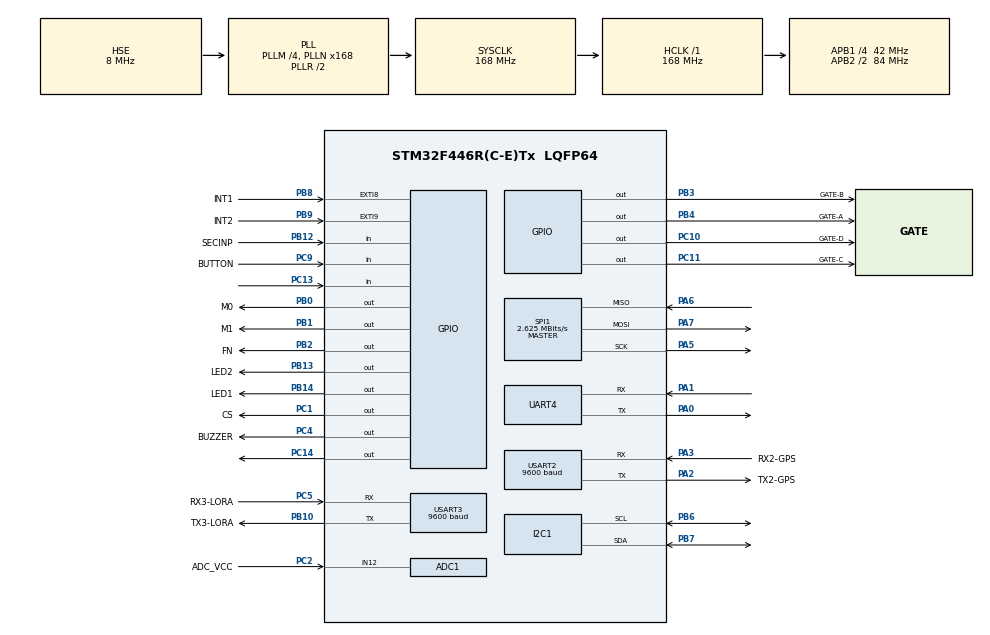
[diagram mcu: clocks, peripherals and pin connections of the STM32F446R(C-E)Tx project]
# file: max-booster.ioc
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ADC1.Channel-11\#ChannelRegularConversion=ADC_CHANNEL_12
ADC1.ContinuousConvMode=ENABLE
ADC1.NbrOfConversionFlag=1
ADC1.Rank-11\#ChannelRegularConversion=1
ADC1.SamplingTime-11\#ChannelRegularConversion=ADC_SAMPLETIME_3CYCLES
ADC1.master=1
I2C1.I2C_Mode=I2C_Fast
Mcu.Family=STM32F4
Mcu.Name=STM32F446R(C-E)Tx
Mcu.Package=LQFP64
NVIC.ADC_IRQn=true\:0\:0\:false\:false\:true\:true\:true\:true
NVIC.PriorityGroup=NVIC_PRIORITYGROUP_4
NVIC.TIM1_TRG_COM_TIM11_IRQn=true\:0\:0\:false\:false\:true\:true\:true\:true
NVIC.TIM1_UP_TIM10_IRQn=true\:0\:0\:false\:false\:true\:true\:true\:true
NVIC.TIM6_DAC_IRQn=true\:0\:0\:false\:false\:true\:true\:true\:true
NVIC.TIM7_IRQn=true\:0\:0\:false\:false\:true\:true\:true\:true
NVIC.USART2_IRQn=true\:0\:0\:false\:false\:true\:true\:true\:true
NVIC.USART3_IRQn=true\:0\:0\:false\:false\:true\:true\:true\:true
PA0-WKUP.Mode=Asynchronous
PA0-WKUP.Signal=UART4_TX
PA1.Mode=Asynchronous
PA1.Signal=UART4_RX
PA13.Mode=Serial_Wire
PA13.Signal=SYS_JTMS-SWDIO
PA14.Mode=Serial_Wire
PA14.Signal=SYS_JTCK-SWCLK
PA2.GPIO_Label=TX2-GPS
PA2.Mode=Asynchronous
PA2.Signal=USART2_TX
PA3.GPIO_Label=RX2-GPS
PA3.Mode=Asynchronous
PA3.Signal=USART2_RX
PA5.Mode=Full_Duplex_Master
PA5.Signal=SPI1_SCK
PA6.Mode=Full_Duplex_Master
PA6.Signal=SPI1_MISO
PA7.Mode=Full_Duplex_Master
PA7.Signal=SPI1_MOSI
PB0.GPIO_Label=M0
PB0.Signal=GPIO_Output
PB1.GPIO_Label=M1
PB1.Signal=GPIO_Output
PB10.GPIO_Label=TX3-LORA
PB10.Mode=Asynchronous
PB10.Signal=USART3_TX
PB12.GPIO_Label=SECINP
PB12.GPIO_PuPd=GPIO_PULLUP
PB12.Signal=GPIO_Input
PB13.GPIO_Label=LED2
PB13.Signal=GPIO_Output
PB14.GPIO_Label=LED1
PB14.Signal=GPIO_Output
PB2.GPIO_Label=FN
PB2.PinState=GPIO_PIN_SET
PB2.Signal=GPIO_Output
PB3.GPIO_Label=GATE-B
PB3.Signal=GPIO_Output
PB4.GPIO_Label=GATE-A
PB4.Signal=GPIO_Output
PB6.Mode=I2C
PB6.Signal=I2C1_SCL
PB7.Mode=I2C
PB7.Signal=I2C1_SDA
PB8.GPIO_Label=INT1
PB8.GPIO_ModeDefaultEXTI=GPIO_MODE_IT_RISING
PB8.Signal=GPXTI8
PB9.GPIO_Label=INT2
PB9.GPIO_PuPd=GPIO_NOPULL
PB9.Signal=GPXTI9
PC1.GPIO_Label=CS
PC1.Signal=GPIO_Output
PC10.GPIO_Label=GATE-D
PC10.Signal=GPIO_Output
PC11.GPIO_Label=GATE-C
PC11.Signal=GPIO_Output
PC13.GPIO_PuPd=GPIO_PULLDOWN
PC13.Signal=GPIO_Input
PC14-OSC32_IN.Signal=GPIO_Output
PC2.GPIO_Label=ADC_VCC
PC2.Signal=ADCx_IN12
PC4.GPIO_Label=BUZZER
PC4.Signal=GPIO_Output
PC5.GPIO_Label=RX3-LORA
PC5.Mode=Asynchronous
PC5.Signal=USART3_RX
PC9.GPIO_Label=BUTTON
PC9.GPIO_PuPd=GPIO_PULLUP
PC9.Signal=GPIO_Input
PH0-OSC_IN.Mode=HSE-External-Oscillator
PH0-OSC_IN.Signal=RCC_OSC_IN
PH1-OSC_OUT.Mode=HSE-External-Oscillator
PH1-OSC_OUT.Signal=RCC_OSC_OUT
ProjectManager.HeapSize=0x200
ProjectManager.StackSize=0x400
ProjectManager.TargetToolchain=STM32CubeIDE
RCC.AHBFreq_Value=168000000
RCC.APB1CLKDivider=RCC_HCLK_DIV4
RCC.APB1Freq_Value=42000000
RCC.APB1TimFreq_Value=84000000
RCC.APB2CLKDivider=RCC_HCLK_DIV2
RCC.APB2Freq_Value=84000000
RCC.APB2TimFreq_Value=168000000
RCC.CortexFreq_Value=168000000
RCC.HCLKFreq_Value=168000000
RCC.HSE_VALUE=8000000
RCC.PLLM=4
RCC.PLLN=168
RCC.PLLQ=7
RCC.PLLSourceVirtual=RCC_PLLSOURCE_HSE
RCC.SYSCLKFreq_VALUE=168000000
RCC.SYSCLKSource=RCC_SYSCLKSOURCE_PLLRCLK
RCC.USBFreq_Value=48000000
RCC.VCOOutputFreq_Value=336000000
SH.ADCx_IN12.0=ADC1_IN12,IN12
SPI1.BaudRatePrescaler=SPI_BAUDRATEPRESCALER_32
SPI1.CalculateBaudRate=2.625 MBits/s
SPI1.Direction=SPI_DIRECTION_2LINES
SPI1.Mode=SPI_MODE_MASTER
SPI1.VirtualType=VM_MASTER
TIM10.Period=4999
TIM10.Prescaler=1680
TIM11.Period=19999
TIM11.Prescaler=16800-1
TIM6.Period=34999
TIM6.Prescaler=8400
TIM7.Period=65000-1
TIM7.Prescaler=8400-1
UART4.VirtualMode=Asynchronous
USART2.BaudRate=9600
USART2.VirtualMode=VM_ASYNC
USART3.BaudRate=9600
USART3.VirtualMode=VM_ASYNC
VP_FATFS_VS_Generic.Mode=User_defined
VP_TIM10_VS_ClockSourceINT.Mode=Enable_Timer
VP_TIM11_VS_ClockSourceINT.Mode=Enable_Timer
VP_TIM6_VS_ClockSourceINT.Mode=Enable_Timer
VP_TIM7_VS_ClockSourceINT.Mode=Enable_Timer
board=custom

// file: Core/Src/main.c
/* USER CODE BEGIN Header */
/**
  ******************************************************************************
  * @file           : main.c
  * @brief          : Main program body
  ******************************************************************************
  * @attention
  *
  * Copyright (c) 2024 STMicroelectronics.
  * All rights reserved.
  *
  * This software is licensed under terms that can be found in the LICENSE file
  * in the root directory of this software component.
  * If no LICENSE file comes with this software, it is provided AS-IS.
  *
  ******************************************************************************
  */
/* USER CODE END Header */
#include "main.h"
#include "fatfs.h"

/* USER CODE BEGIN Includes */
#include "lwgps/lwgps.h"
#include "LSM6DSLTR.h"
#include "./BME280/bme280.h"
#include "w25q.h"
#include <math.h>
#include "FIR_FILTER.h"
#include "string.h"
#include "kalman.h"
/* USER CODE END Includes */

/* USER CODE BEGIN PD */
#define LORA_TX_BUFFER_SIZE 75
#define RX_BUFFER_SIZE 128
#define DEVICE_ID 1

#define CMD_SET_REG 0xC0 // COMMAND FOR SETTING REGISTER
#define CMD_READ_REG 0xC1 // COMMAND FOR READING REGISTER
#define REG_ADD_H 0x0 // DEVICE ADDRESS HIGH BYTE
#define REG_ADD_L 0x1 // DEVICE ADDRESS LOW BYTE
#define REG0 0x2 // UART CONFIGURATION REGISTER
#define REG1 0x3 // RF CONFIGURATION REGISTER
#define REG2 0x4 // CHANNEL CONTROL
#define REG3 0x5 // TRANSMISSION PARAMETER CONTROL

/* USER CODE END PD */

ADC_HandleTypeDef hadc1;

I2C_HandleTypeDef hi2c1;

SPI_HandleTypeDef hspi1;

TIM_HandleTypeDef htim6;
TIM_HandleTypeDef htim7;
TIM_HandleTypeDef htim10;
TIM_HandleTypeDef htim11;

UART_HandleTypeDef huart4;
UART_HandleTypeDef huart2;
UART_HandleTypeDef huart3;

/* USER CODE BEGIN PV */

uint8_t rx_buffer[RX_BUFFER_SIZE];
uint8_t rx_index=0;
uint8_t rx_data=0;

float adc_pil_val=0;
float adc =0;
uint8_t counter=0;
uint8_t adc_flag=0;

int buzzer_long=0 , buzzer_short=0, buzzer_ariza=0 ;
int buzzer_short_counter , buzzer_long_counter , buzzer_ariza_counter;
int new_data=0,kontrol_number=0 ,  speed_time, speed_time_prev ;

uint8_t v4_battery=0;
uint8_t v4_mod=0;
uint8_t stage_communication=0;
uint8_t motor_burnout=0;
uint8_t kesin_burnout=0;

uint8_t BUTTON_STATE=0;

uint8_t writeData[50] = {0,1,1,1};
uint8_t readData[50] = {0};

uint8_t loratx[LORA_TX_BUFFER_SIZE];
uint8_t lora_flag=0;
uint8_t sensor_flag=0;
uint8_t buzzer_flag=0;

float temperature=0;
float humidity=0;
float altitude=0;
float offset_altitude=0 ;
float pressure=0;
float alt=0;
float P0 = 1013.25;
float prev_alt=0;
float speed=0;
float altitude_max , speed_max, x_max;

float real_pitch, real_roll , toplam_pitch,toplam_roll;
float altitude_kalman;
uint8_t  sensor_counter =0, altitude_rampa_control=0;
uint16_t stage_sayac =0;
KalmanFilter kf;

typedef union{
  float fVal;
  unsigned char array[4];
}float2unit8;

enum ZORLU2024
{
	RAMPA,UCUS,BURNOUT,AYIR,AYRILDI_MI,AYRILDI,AYRILMADI,FINISH
};
enum ZORLU2024 BOOSTER;
/* USER CODE END PV */

void SystemClock_Config(void);
static void MX_GPIO_Init(void);
static void MX_ADC1_Init(void);
static void MX_I2C1_Init(void);
static void MX_SPI1_Init(void);
static void MX_UART4_Init(void);
static void MX_USART2_UART_Init(void);
static void MX_USART3_UART_Init(void);
static void MX_TIM11_Init(void);
static void MX_TIM10_Init(void);
static void MX_TIM6_Init(void);
static void MX_TIM7_Init(void);
/* USER CODE BEGIN PFP */
int16_t I2C_Testsensor(void);
int8_t user_i2c_read(uint8_t id, uint8_t reg_addr, uint8_t *data, uint16_t len);
int8_t user_i2c_write(uint8_t id, uint8_t reg_addr, uint8_t *data, uint16_t len);
void user_delay_ms(uint32_t period);
float BME280_Get_Altitude(void);
void E220_CONFIG(uint8_t ADDH, uint8_t ADDL, uint8_t CHN, uint8_t MODE);
void union_converter();
void Altitude_Offset();
/* USER CODE END PFP */

/* USER CODE BEGIN 0 */
lwgps_t gps;
LSM6DSLTR Lsm_Sensor;
FIRFilter accx;
FIRFilter IMU_GYROX;
FIRFilter IMU_GYROY;
FIRFilter IMU_GYROZ;

struct bme280_dev dev;
struct bme280_data comp_data;
int8_t rslt=0;
int8_t receive_data=0;
int8_t E220_write_register(uint8_t reg,uint8_t parameter)
{

	HAL_GPIO_WritePin(GPIOB, GPIO_PIN_0, SET);
	HAL_GPIO_WritePin(GPIOB, GPIO_PIN_1, SET);

	HAL_Delay(10);

	uint8_t send_data[4]={CMD_SET_REG,reg,1,parameter};
	uint8_t receive_data[4]={0};

	HAL_UART_Transmit(&huart3,send_data ,4, 100);
	HAL_UART_Receive(&huart3, receive_data, 4, 100);

	if(receive_data[0]==CMD_READ_REG && receive_data[1]==reg && receive_data[2]==1 && receive_data[3] == parameter)
		return receive_data[3];
	else
		return -1;

}
int8_t E220_read_register(uint8_t reg)
{

	uint8_t send_data[3]={CMD_READ_REG,reg,1};
	uint8_t receive_data[4]={0};
	HAL_UART_Transmit(&huart3,send_data ,3, 100);

	HAL_UART_Receive(&huart3, receive_data, 4, 100);

	if(receive_data[0]==CMD_READ_REG && receive_data[1]==reg && receive_data[2]==1)
		return receive_data[3];
	else
		return -1;
}
int8_t E220_read_register_all(uint8_t *data)
{

	for(int i=0; i<8;i++){
		data[i]=E220_read_register(i);
		HAL_Delay(2);
		if((int8_t)data[i]==(int8_t)-1)
			return -1;
	}
	return 1;

}

void HAL_UART_RxCpltCallback(UART_HandleTypeDef *huart)
{
	if(rx_data != '\n' && rx_index < RX_BUFFER_SIZE)
	{
		rx_buffer[rx_index++] = rx_data;
	}
	else {
		lwgps_process(&gps, rx_buffer, rx_index+1);
		rx_index = 0;
		rx_data = 0;
	}
	HAL_UART_Receive_IT(&huart2, &rx_data, 1);

}

void HAL_TIM_PeriodElapsedCallback(TIM_HandleTypeDef *htim)
{

	if(htim==&htim11){ // 1.5sn
		lora_flag=1;

		counter++;
		if(counter == 2)
		{
			adc_flag=1;
			counter =0;
			HAL_ADC_Start_IT(&hadc1);
		}

	}

	if(htim==&htim10){ //50 ms timer
		sensor_flag=1;

	}

	if(htim==&htim6){
      motor_burnout++;
	}
	if(htim==&htim7){
      kesin_burnout++;
	}
}

void HAL_ADC_ConvCpltCallback(ADC_HandleTypeDef* hadc)
{
	if(hadc->Instance == ADC1 )
	{
		adc= HAL_ADC_GetValue(&hadc1);

		adc_flag = 1;
	}
}

/* USER CODE END 0 */

int main(void)
{

  /* MCU Configuration--------------------------------------------------------*/

  /* Reset of all peripherals, Initializes the Flash interface and the Systick. */
  HAL_Init();

  /* Configure the system clock */
  SystemClock_Config();

  /* Initialize all configured peripherals */
  MX_GPIO_Init();
  MX_ADC1_Init();
  MX_I2C1_Init();
  MX_SPI1_Init();
  MX_UART4_Init();
  MX_USART2_UART_Init();
  MX_USART3_UART_Init();
  MX_FATFS_Init();
  MX_TIM11_Init();
  MX_TIM10_Init();
  MX_TIM6_Init();
  MX_TIM7_Init();
  /* USER CODE BEGIN 2 */
  HAL_GPIO_WritePin(GPIOB, GPIO_PIN_2, GPIO_PIN_SET);
  HAL_GPIO_WritePin(GPIOC, GPIO_PIN_1, GPIO_PIN_SET);
  HAL_GPIO_WritePin(GPIOC, GPIO_PIN_14, GPIO_PIN_SET);

  ///KURTARMA PORTLARI KAPALI EMIN OL
  HAL_GPIO_WritePin(GPIOB, GPIO_PIN_4, GPIO_PIN_RESET);//A
  HAL_GPIO_WritePin(GPIOB, GPIO_PIN_3, GPIO_PIN_RESET);//B
  HAL_GPIO_WritePin(GPIOC, GPIO_PIN_11, GPIO_PIN_RESET);//C
  HAL_GPIO_WritePin(GPIOC, GPIO_PIN_10, GPIO_PIN_RESET);//D

  HAL_Delay(100);
  receive_data =E220_write_register(0x2, 0x62);
  HAL_Delay(100);
  receive_data =E220_write_register(0x3, 0x40);
  HAL_Delay(100);
  receive_data =E220_write_register(0x4, 0x10); // ch
  HAL_Delay(100);
  receive_data =E220_write_register(0x5, 0x40);
  HAL_Delay(100);
  receive_data =E220_write_register(0x6, 0x00);
  HAL_Delay(100);
  receive_data =E220_write_register(0x7, 0x00);
  HAL_Delay(100);
  receive_data =E220_write_register(0, 0x04); // h 0x04
  HAL_Delay(100);

  receive_data =E220_write_register(0x1, 0x01); // low 0x01
  HAL_Delay(200);

  receive_data = E220_read_register(0);
  HAL_Delay(100);
  receive_data = E220_read_register(1);
  HAL_Delay(100);
  HAL_GPIO_WritePin(GPIOB, GPIO_PIN_0, SET);//m0
  HAL_Delay(100);
  HAL_GPIO_WritePin(GPIOB, GPIO_PIN_1, RESET); //m1
  HAL_Delay(100);

  HAL_UART_Receive_IT(&huart2,&rx_data,1);
  HAL_TIM_Base_Start_IT(&htim11);
  HAL_TIM_Base_Start_IT(&htim10);
  HAL_ADC_Start_IT(&hadc1);

  MAFilter_Init(&accx);
  FIRFilter_Init(&IMU_GYROY);
  FIRFilter_Init(&IMU_GYROX);
  FIRFilter_Init(&IMU_GYROZ);

  lwgps_init(&gps);
  LSM6DSLTR_Init();

   dev.dev_id = BME280_I2C_ADDR_PRIM;
   dev.intf = BME280_I2C_INTF;
   dev.read = user_i2c_read;
   dev.write = user_i2c_write;
   dev.delay_ms = user_delay_ms;

   rslt = bme280_init(&dev);

   dev.settings.osr_h = BME280_OVERSAMPLING_1X;
   dev.settings.osr_p = BME280_OVERSAMPLING_4X;
   dev.settings.osr_t = BME280_OVERSAMPLING_2X;
   dev.settings.filter = BME280_FILTER_COEFF_16;
   rslt = bme280_set_sensor_settings(BME280_OSR_PRESS_SEL | BME280_OSR_TEMP_SEL | BME280_OSR_HUM_SEL | BME280_FILTER_SEL, &dev);

   ////ALTITUDE OFFSET

    Altitude_Offset();
    HAL_GPIO_TogglePin(GPIOC,GPIO_PIN_4);
	HAL_GPIO_TogglePin(GPIOB,GPIO_PIN_14);
	HAL_GPIO_TogglePin(GPIOB,GPIO_PIN_13);
	HAL_Delay(1000);

	HAL_GPIO_TogglePin(GPIOC,GPIO_PIN_4);
	HAL_GPIO_TogglePin(GPIOB,GPIO_PIN_14);
	HAL_GPIO_TogglePin(GPIOB,GPIO_PIN_13);

	HAL_Delay(100);

	// KalmanFilter_Init(&kf, 0.005, 0.1, 0.0);

  /* USER CODE END 2 */

  /* Infinite loop */
  /* USER CODE BEGIN WHILE */
  while (1)
  {

		   if(sensor_flag==1){
					sensor_flag=0;
					prev_alt=altitude;
					rslt = bme280_set_sensor_mode(BME280_FORCED_MODE, &dev);

					rslt = bme280_get_sensor_data(BME280_ALL, &comp_data, &dev);

					 LSM6DSLTR_Read_Accel_Data(&Lsm_Sensor);
					 calculate_roll_pitch(&Lsm_Sensor);
					 LSM6DSLTR_Read_Gyro_Data(&Lsm_Sensor);
					 update_angles(&Lsm_Sensor);

					 Lsm_Sensor.Accel_X=FIRFilter_Update(&accx,  Lsm_Sensor.Accel_X);

					 Lsm_Sensor.Gyro_X=FIRFilter_Update(&IMU_GYROX,  Lsm_Sensor.Gyro_X);
					 Lsm_Sensor.Gyro_Y=FIRFilter_Update(&IMU_GYROY, Lsm_Sensor.Gyro_Y);
					 Lsm_Sensor.Gyro_Z=FIRFilter_Update(&IMU_GYROZ, Lsm_Sensor.Gyro_Z);

					 toplam_pitch+= Lsm_Sensor.Pitch;
					 toplam_roll+= Lsm_Sensor.Roll;

					 sensor_counter++;
					 if(sensor_counter == 10)
					 {
							if(rslt == BME280_OK)
								{
								  temperature = comp_data.temperature/100.00;
								  humidity = comp_data.humidity;
								  pressure = comp_data.pressure;
								  altitude=BME280_Get_Altitude()-offset_altitude;
								//  altitude_kalman= KalmanFilter_Update(&kf, altitude);
								//  speed_time = (HAL_GetTick()-speed_time_prev)/1000.0f;
								  speed = (altitude - prev_alt) * 3.33;
								//  speed_time_prev = speed_time;

								}

						 real_pitch = toplam_pitch/10;
						 real_roll = toplam_roll/10;
						 toplam_roll=0;
						 toplam_pitch=0;
						 sensor_counter =0;
						 new_data=1;
					 }

					 stage_communication=HAL_GPIO_ReadPin(GPIOC, GPIO_PIN_13);
//					 if(stage_communication == 0) { buzzer_long=0; buzzer_short =0;}
//					 else {
//						 buzzer_short=0;
//						 buzzer_long =0;
//					 }
					 BUTTON_STATE=HAL_GPIO_ReadPin(GPIOC, GPIO_PIN_9);
					// FreeFall_Detection();

					 stage_sayac++;
		   }

   if(lora_flag==1)
   {
	   lora_flag=0;

		loratx[0]=0x09; // h 9
		loratx[1]=0x02; //l 2
		loratx[2]=0x10;
		loratx[3]=DEVICE_ID;
		loratx[4]=gps.sats_in_view;

		union_converter();

		loratx[49]=v4_battery;
		loratx[50]=0x32; // v4mod
		loratx[51]=stage_communication;
		 for(uint8_t i=52;i<69;i++)
		 {
			loratx[i]='0';
		 }
		loratx[73]=v4_mod;
		loratx[74]='\n';

    	HAL_UART_Transmit_IT(&huart3,loratx,LORA_TX_BUFFER_SIZE );
		//HAL_UART_Transmit(&huart3,loratx,LORA_TX_BUFFER_SIZE ,1000);

         }

		  switch(BOOSTER){

		  case RAMPA:
						  v4_mod=1;
					  //RAMPA MODU  ÜST KADEME HABERLE�?ME KONTROL ET
					  if(Lsm_Sensor.Accel_X > 5 && new_data==1)
					  {
						  kontrol_number++;
						  new_data=0;
					  }

						if(kontrol_number >5)
						{
						 BOOSTER=UCUS;
						  HAL_TIM_Base_Start_IT(&htim6); //4.5 sn sayıyor
						 HAL_TIM_Base_Start_IT(&htim7); 	  // 6.5 sn başlat

						 kontrol_number=0;
						}

				  break;
		  case UCUS:
						  v4_mod=2;
					  // FLASH MEMORYE KAYDETMEYE BA�?LA VE MOTOR YANMA SÜRESİ KADAR SAY
					  if(motor_burnout==2)
					  {	 HAL_TIM_Base_Stop_IT(&htim6);
						 //HAL_TIM_Base_Stop_IT(&htim7);
						 BOOSTER=BURNOUT;

					  }
				   break;
		  case BURNOUT:
						  v4_mod=3;
					  //İVME VE HIZ DE�?ERLERİNE BAKARAK SAFETY SÜRESİ GEÇMEDEN KADEMEYİ AYIRABİLİR
					  if((Lsm_Sensor.Accel_X<5 && altitude_rampa_control == 1)  || (kesin_burnout>=2) ){
						BOOSTER=AYIR;

					  }
				   break;
		  case AYIR:
						  v4_mod=4;
					  // MOTOR YANMA SÜRESİ+SAFETY SÜRESİ GEÇTİYSE AYIRMA SİNYALİ GÖNDER
						  HAL_GPIO_WritePin(GPIOB, GPIO_PIN_4, SET); // port A ateşle
						  BOOSTER=AYRILDI_MI;
						  stage_sayac=0;

				   break;
		  case AYRILDI_MI:
						  v4_mod=5;
					  //STAGE COMMUNICATION !!!!!
					if(stage_sayac >= 33) // kopmayı bekleme süresi
					{
						  if(stage_communication==0){

							  HAL_GPIO_WritePin(GPIOB, GPIO_PIN_4, RESET); // port a kapat

							  BOOSTER=AYRILDI;
						  }
						  else if(stage_communication==1){
							  BOOSTER=AYRILMADI;

						  }

					}
				   break;

		  case AYRILDI:
						 v4_mod=6;
					  //AYRILMA GERÇEKLESTI BOOSTER APOGEE YAKALA

						 if( speed <= 2 && altitude < altitude_max && altitude >300 && new_data==1)
						{
							 kontrol_number++;
							 new_data=0;
						}
						 if(kontrol_number >10)
						{
						 HAL_GPIO_WritePin(GPIOC, GPIO_PIN_10, SET); // Port D
						 HAL_Delay(50);
						 BOOSTER=FINISH;
						}

				   break;
		  case AYRILMADI:
						  v4_mod=7;
					  //ÇOK SÜRE GEÇTİ VE HALA AYRILMADI İSE BOOSTER PARA�?ÜT AÇMA

						  // Booster son çare kurtarması
					if(altitude <= 500 && speed < -3  && altitude_rampa_control == 1 && new_data==1)
					{
						kontrol_number++;
						 new_data=0;
					}

					 if(kontrol_number >10)
					 {
						 HAL_GPIO_WritePin(GPIOC, GPIO_PIN_10, SET); // Port D
						 HAL_Delay(50);

						 BOOSTER=FINISH;
					 }

				   break;
		  case FINISH:
						  v4_mod=8;
					  //KURTARMA GERÇEKLE�?Tİ VERİ KAYDETMEYİ BIRAK VE BUZZERI AÇ
						  HAL_GPIO_TogglePin(GPIOC,GPIO_PIN_4);
						  HAL_GPIO_WritePin(GPIOB, GPIO_PIN_4, RESET); // Port D

				   break;
		  }

/************************************************************************************/
		  if(altitude >150 && BOOSTER <3)
		  {
			  altitude_rampa_control =1;
		  }
/*************************************************************************************/
		  if(altitude>altitude_max) altitude_max = altitude;

		  if(speed>speed_max) speed_max = speed;

		  if( Lsm_Sensor.Accel_X> x_max) x_max =  Lsm_Sensor.Accel_X;

		  if(adc_flag ==1)
		  {
			  if(adc > 2476) adc = 2234;
			  if(adc < 1755) adc = 1755;
			  // 6V = 1755 adc val 1,41V
			  // 8.4V = 2476 adc val 1,99V 0,58V

		  adc_pil_val=(float)( ( ( (adc/4095)*3.3)-1.41) / (1.99-1.41) ) *100  ;
		  v4_battery= adc_pil_val;
		  adc_flag=0;
			}

    /* USER CODE END WHILE */

  }
}

void SystemClock_Config(void)
{
  RCC_OscInitTypeDef RCC_OscInitStruct = {0};
  RCC_ClkInitTypeDef RCC_ClkInitStruct = {0};

  /** Configure the main internal regulator output voltage
  */
  __HAL_RCC_PWR_CLK_ENABLE();
  __HAL_PWR_VOLTAGESCALING_CONFIG(PWR_REGULATOR_VOLTAGE_SCALE1);

  /** Initializes the RCC Oscillators according to the specified parameters
  * in the RCC_OscInitTypeDef structure.
  */
  RCC_OscInitStruct.OscillatorType = RCC_OSCILLATORTYPE_HSE;
  RCC_OscInitStruct.HSEState = RCC_HSE_ON;
  RCC_OscInitStruct.PLL.PLLState = RCC_PLL_ON;
  RCC_OscInitStruct.PLL.PLLSource = RCC_PLLSOURCE_HSE;
  RCC_OscInitStruct.PLL.PLLM = 4;
  RCC_OscInitStruct.PLL.PLLN = 168;
  RCC_OscInitStruct.PLL.PLLP = RCC_PLLP_DIV2;
  RCC_OscInitStruct.PLL.PLLQ = 7;
  RCC_OscInitStruct.PLL.PLLR = 2;
  if (HAL_RCC_OscConfig(&RCC_OscInitStruct) != HAL_OK)
  {
    Error_Handler();
  }

  /** Initializes the CPU, AHB and APB buses clocks
  */
  RCC_ClkInitStruct.ClockType = RCC_CLOCKTYPE_HCLK|RCC_CLOCKTYPE_SYSCLK
                              |RCC_CLOCKTYPE_PCLK1|RCC_CLOCKTYPE_PCLK2;
  RCC_ClkInitStruct.SYSCLKSource = RCC_SYSCLKSOURCE_PLLRCLK;
  RCC_ClkInitStruct.AHBCLKDivider = RCC_SYSCLK_DIV1;
  RCC_ClkInitStruct.APB1CLKDivider = RCC_HCLK_DIV4;
  RCC_ClkInitStruct.APB2CLKDivider = RCC_HCLK_DIV2;

  if (HAL_RCC_ClockConfig(&RCC_ClkInitStruct, FLASH_LATENCY_5) != HAL_OK)
  {
    Error_Handler();
  }
}

static void MX_ADC1_Init(void)
{

  ADC_ChannelConfTypeDef sConfig = {0};

  /** Configure the global features of the ADC (Clock, Resolution, Data Alignment and number of conversion)
  */
  hadc1.Instance = ADC1;
  hadc1.Init.ClockPrescaler = ADC_CLOCK_SYNC_PCLK_DIV4;
  hadc1.Init.Resolution = ADC_RESOLUTION_12B;
  hadc1.Init.ScanConvMode = DISABLE;
  hadc1.Init.ContinuousConvMode = ENABLE;
  hadc1.Init.DiscontinuousConvMode = DISABLE;
  hadc1.Init.ExternalTrigConvEdge = ADC_EXTERNALTRIGCONVEDGE_NONE;
  hadc1.Init.ExternalTrigConv = ADC_SOFTWARE_START;
  hadc1.Init.DataAlign = ADC_DATAALIGN_RIGHT;
  hadc1.Init.NbrOfConversion = 1;
  hadc1.Init.DMAContinuousRequests = DISABLE;
  hadc1.Init.EOCSelection = ADC_EOC_SINGLE_CONV;
  if (HAL_ADC_Init(&hadc1) != HAL_OK)
  {
    Error_Handler();
  }

  /** Configure for the selected ADC regular channel its corresponding rank in the sequencer and its sample time.
  */
  sConfig.Channel = ADC_CHANNEL_12;
  sConfig.Rank = 1;
  sConfig.SamplingTime = ADC_SAMPLETIME_3CYCLES;
  if (HAL_ADC_ConfigChannel(&hadc1, &sConfig) != HAL_OK)
  {
    Error_Handler();
  }

}

static void MX_I2C1_Init(void)
{

  hi2c1.Instance = I2C1;
  hi2c1.Init.ClockSpeed = 400000;
  hi2c1.Init.DutyCycle = I2C_DUTYCYCLE_2;
  hi2c1.Init.OwnAddress1 = 0;
  hi2c1.Init.AddressingMode = I2C_ADDRESSINGMODE_7BIT;
  hi2c1.Init.DualAddressMode = I2C_DUALADDRESS_DISABLE;
  hi2c1.Init.OwnAddress2 = 0;
  hi2c1.Init.GeneralCallMode = I2C_GENERALCALL_DISABLE;
  hi2c1.Init.NoStretchMode = I2C_NOSTRETCH_DISABLE;
  if (HAL_I2C_Init(&hi2c1) != HAL_OK)
  {
    Error_Handler();
  }

}

static void MX_SPI1_Init(void)
{

  /* SPI1 parameter configuration*/
  hspi1.Instance = SPI1;
  hspi1.Init.Mode = SPI_MODE_MASTER;
  hspi1.Init.Direction = SPI_DIRECTION_2LINES;
  hspi1.Init.DataSize = SPI_DATASIZE_8BIT;
  hspi1.Init.CLKPolarity = SPI_POLARITY_LOW;
  hspi1.Init.CLKPhase = SPI_PHASE_1EDGE;
  hspi1.Init.NSS = SPI_NSS_SOFT;
  hspi1.Init.BaudRatePrescaler = SPI_BAUDRATEPRESCALER_32;
  hspi1.Init.FirstBit = SPI_FIRSTBIT_MSB;
  hspi1.Init.TIMode = SPI_TIMODE_DISABLE;
  hspi1.Init.CRCCalculation = SPI_CRCCALCULATION_DISABLE;
  hspi1.Init.CRCPolynomial = 10;
  if (HAL_SPI_Init(&hspi1) != HAL_OK)
  {
    Error_Handler();
  }

}

static void MX_TIM6_Init(void)
{

  TIM_MasterConfigTypeDef sMasterConfig = {0};

  htim6.Instance = TIM6;
  htim6.Init.Prescaler = 8400;
  htim6.Init.CounterMode = TIM_COUNTERMODE_UP;
  htim6.Init.Period = 34999;
  htim6.Init.AutoReloadPreload = TIM_AUTORELOAD_PRELOAD_DISABLE;
  if (HAL_TIM_Base_Init(&htim6) != HAL_OK)
  {
    Error_Handler();
  }
  sMasterConfig.MasterOutputTrigger = TIM_TRGO_RESET;
  sMasterConfig.MasterSlaveMode = TIM_MASTERSLAVEMODE_DISABLE;
  if (HAL_TIMEx_MasterConfigSynchronization(&htim6, &sMasterConfig) != HAL_OK)
  {
    Error_Handler();
  }

}

static void MX_TIM7_Init(void)
{

  TIM_MasterConfigTypeDef sMasterConfig = {0};

  htim7.Instance = TIM7;
  htim7.Init.Prescaler = 8400-1;
  htim7.Init.CounterMode = TIM_COUNTERMODE_UP;
  htim7.Init.Period = 65000-1;
  htim7.Init.AutoReloadPreload = TIM_AUTORELOAD_PRELOAD_DISABLE;
  if (HAL_TIM_Base_Init(&htim7) != HAL_OK)
  {
    Error_Handler();
  }
  sMasterConfig.MasterOutputTrigger = TIM_TRGO_RESET;
  sMasterConfig.MasterSlaveMode = TIM_MASTERSLAVEMODE_DISABLE;
  if (HAL_TIMEx_MasterConfigSynchronization(&htim7, &sMasterConfig) != HAL_OK)
  {
    Error_Handler();
  }

}

static void MX_TIM10_Init(void)
{

  htim10.Instance = TIM10;
  htim10.Init.Prescaler = 1680;
  htim10.Init.CounterMode = TIM_COUNTERMODE_UP;
  htim10.Init.Period = 4999;
  htim10.Init.ClockDivision = TIM_CLOCKDIVISION_DIV1;
  htim10.Init.AutoReloadPreload = TIM_AUTORELOAD_PRELOAD_DISABLE;
  if (HAL_TIM_Base_Init(&htim10) != HAL_OK)
  {
    Error_Handler();
  }

}

static void MX_TIM11_Init(void)
{

  htim11.Instance = TIM11;
  htim11.Init.Prescaler = 16800-1;
  htim11.Init.CounterMode = TIM_COUNTERMODE_UP;
  htim11.Init.Period = 19999;
  htim11.Init.ClockDivision = TIM_CLOCKDIVISION_DIV1;
  htim11.Init.AutoReloadPreload = TIM_AUTORELOAD_PRELOAD_DISABLE;
  if (HAL_TIM_Base_Init(&htim11) != HAL_OK)
  {
    Error_Handler();
  }

}

static void MX_UART4_Init(void)
{

  huart4.Instance = UART4;
  huart4.Init.BaudRate = 115200;
  huart4.Init.WordLength = UART_WORDLENGTH_8B;
  huart4.Init.StopBits = UART_STOPBITS_1;
  huart4.Init.Parity = UART_PARITY_NONE;
  huart4.Init.Mode = UART_MODE_TX_RX;
  huart4.Init.HwFlowCtl = UART_HWCONTROL_NONE;
  huart4.Init.OverSampling = UART_OVERSAMPLING_16;
  if (HAL_UART_Init(&huart4) != HAL_OK)
  {
    Error_Handler();
  }

}

static void MX_USART2_UART_Init(void)
{

  huart2.Instance = USART2;
  huart2.Init.BaudRate = 9600;
  huart2.Init.WordLength = UART_WORDLENGTH_8B;
  huart2.Init.StopBits = UART_STOPBITS_1;
  huart2.Init.Parity = UART_PARITY_NONE;
  huart2.Init.Mode = UART_MODE_TX_RX;
  huart2.Init.HwFlowCtl = UART_HWCONTROL_NONE;
  huart2.Init.OverSampling = UART_OVERSAMPLING_16;
  if (HAL_UART_Init(&huart2) != HAL_OK)
  {
    Error_Handler();
  }

}

static void MX_USART3_UART_Init(void)
{

  huart3.Instance = USART3;
  huart3.Init.BaudRate = 9600;
  huart3.Init.WordLength = UART_WORDLENGTH_8B;
  huart3.Init.StopBits = UART_STOPBITS_1;
  huart3.Init.Parity = UART_PARITY_NONE;
  huart3.Init.Mode = UART_MODE_TX_RX;
  huart3.Init.HwFlowCtl = UART_HWCONTROL_NONE;
  huart3.Init.OverSampling = UART_OVERSAMPLING_16;
  if (HAL_UART_Init(&huart3) != HAL_OK)
  {
    Error_Handler();
  }

}

static void MX_GPIO_Init(void)
{
  GPIO_InitTypeDef GPIO_InitStruct = {0};

  /* GPIO Ports Clock Enable */
  __HAL_RCC_GPIOC_CLK_ENABLE();
  __HAL_RCC_GPIOH_CLK_ENABLE();
  __HAL_RCC_GPIOA_CLK_ENABLE();
  __HAL_RCC_GPIOB_CLK_ENABLE();

  /*Configure GPIO pin Output Level */
  HAL_GPIO_WritePin(GPIOC, GPIO_PIN_14|CS_Pin|BUZZER_Pin|GATE_D_Pin
                          |GATE_C_Pin, GPIO_PIN_RESET);

  /*Configure GPIO pin Output Level */
  HAL_GPIO_WritePin(GPIOB, M0_Pin|M1_Pin|LED2_Pin|LED1_Pin
                          |GATE_B_Pin|GATE_A_Pin, GPIO_PIN_RESET);

  /*Configure GPIO pin Output Level */
  HAL_GPIO_WritePin(FN_GPIO_Port, FN_Pin, GPIO_PIN_SET);

  /*Configure GPIO pin : PC13 */
  GPIO_InitStruct.Pin = GPIO_PIN_13;
  GPIO_InitStruct.Mode = GPIO_MODE_INPUT;
  GPIO_InitStruct.Pull = GPIO_PULLDOWN;
  HAL_GPIO_Init(GPIOC, &GPIO_InitStruct);

  /*Configure GPIO pins : PC14 CS_Pin BUZZER_Pin GATE_D_Pin
                           GATE_C_Pin */
  GPIO_InitStruct.Pin = GPIO_PIN_14|CS_Pin|BUZZER_Pin|GATE_D_Pin
                          |GATE_C_Pin;
  GPIO_InitStruct.Mode = GPIO_MODE_OUTPUT_PP;
  GPIO_InitStruct.Pull = GPIO_NOPULL;
  GPIO_InitStruct.Speed = GPIO_SPEED_FREQ_LOW;
  HAL_GPIO_Init(GPIOC, &GPIO_InitStruct);

  /*Configure GPIO pins : M0_Pin M1_Pin FN_Pin LED2_Pin
                           LED1_Pin GATE_B_Pin GATE_A_Pin */
  GPIO_InitStruct.Pin = M0_Pin|M1_Pin|FN_Pin|LED2_Pin
                          |LED1_Pin|GATE_B_Pin|GATE_A_Pin;
  GPIO_InitStruct.Mode = GPIO_MODE_OUTPUT_PP;
  GPIO_InitStruct.Pull = GPIO_NOPULL;
  GPIO_InitStruct.Speed = GPIO_SPEED_FREQ_LOW;
  HAL_GPIO_Init(GPIOB, &GPIO_InitStruct);

  /*Configure GPIO pin : SECINP_Pin */
  GPIO_InitStruct.Pin = SECINP_Pin;
  GPIO_InitStruct.Mode = GPIO_MODE_INPUT;
  GPIO_InitStruct.Pull = GPIO_PULLUP;
  HAL_GPIO_Init(SECINP_GPIO_Port, &GPIO_InitStruct);

  /*Configure GPIO pin : BUTTON_Pin */
  GPIO_InitStruct.Pin = BUTTON_Pin;
  GPIO_InitStruct.Mode = GPIO_MODE_INPUT;
  GPIO_InitStruct.Pull = GPIO_PULLUP;
  HAL_GPIO_Init(BUTTON_GPIO_Port, &GPIO_InitStruct);

  /*Configure GPIO pins : INT1_Pin INT2_Pin */
  GPIO_InitStruct.Pin = INT1_Pin|INT2_Pin;
  GPIO_InitStruct.Mode = GPIO_MODE_IT_RISING;
  GPIO_InitStruct.Pull = GPIO_NOPULL;
  HAL_GPIO_Init(GPIOB, &GPIO_InitStruct);

}

/* USER CODE BEGIN 4 */
int16_t I2C_Testsensor(void){

	HAL_StatusTypeDef status;

	status=HAL_I2C_IsDeviceReady(&hi2c1,0x6A <<1, 4, 100);

	if(HAL_OK==status){

		return 1;
		}
	else {
		return 0;
		}

}
void E220_CONFIG(uint8_t ADDH, uint8_t ADDL, uint8_t CHN, uint8_t MODE)
{
    HAL_GPIO_WritePin(GPIOB, GPIO_PIN_0, SET);
    HAL_GPIO_WritePin(GPIOB, GPIO_PIN_1, SET);
    HAL_Delay(50);

    char cfg_buff[8] = {0}; // E220 için 8 elemanlı bir dizi kullanıyoruz
    enum {Transparent, Fixed} mode;
    mode = MODE;

    cfg_buff[0] = ADDH;
    cfg_buff[1] = ADDL;
    cfg_buff[2] = 0x62;
    cfg_buff[3] = 0x40; // 0x00
    cfg_buff[4] = CHN;

    switch(mode){
        case Transparent:
            cfg_buff[5] = 0x00;  // opsiyon
            break;
        case Fixed:
            cfg_buff[5] = 0x51;
            break;
        default:
            cfg_buff[5] = 0x51;
     }

     cfg_buff[6] = 0x00;
     cfg_buff[7] = 0x00;

    HAL_UART_Transmit(&huart3, (uint8_t*) cfg_buff, 8, 1000);

    HAL_Delay(25);
    HAL_GPIO_WritePin(GPIOB, GPIO_PIN_0, RESET);
    HAL_GPIO_WritePin(GPIOB, GPIO_PIN_1, RESET);
    HAL_Delay(25);
}

float BME280_Get_Altitude(void)
{
	float press = comp_data.pressure / 10000.0;
	float temp = comp_data.temperature / 100.0;
	alt = 44330 * (1 - pow((press / 1013.25),(1/5.255)));
	//alt = ((pow((P0/press), (1/5.257))-1) * (temp + 273.15)) / 0.0065;

	return (alt);
}
int8_t user_i2c_read(uint8_t id, uint8_t reg_addr, uint8_t *data, uint16_t len)
{
  if(HAL_I2C_Master_Transmit(&hi2c1, (id << 1), &reg_addr, 1, 10) != HAL_OK) return -1;
  if(HAL_I2C_Master_Receive(&hi2c1, (id << 1) | 0x01, data, len, 10) != HAL_OK) return -1;

  return 0;
}

void user_delay_ms(uint32_t period)
{
  HAL_Delay(period);
}
int8_t user_i2c_write(uint8_t id, uint8_t reg_addr, uint8_t *data, uint16_t len)
{
  int8_t *buf;
  buf = malloc(len +1);
  buf[0] = reg_addr;
  memcpy(buf +1, data, len);

  if(HAL_I2C_Master_Transmit(&hi2c1, (id << 1), (uint8_t*)buf, len + 1, HAL_MAX_DELAY) != HAL_OK) return -1;

  free(buf);
  return 0;
}

void union_converter()
{
	 float2unit8 f2u8_gpsalt;
    f2u8_gpsalt.fVal=gps.altitude;
		 for(uint8_t i=0;i<4;i++)
		 {
			loratx[i+5]=f2u8_gpsalt.array[i];
		 }

	 float2unit8 f2u8_latitude;
	 f2u8_latitude.fVal=gps.latitude;
		 for(uint8_t i=0;i<4;i++)
		 {
			loratx[i+9]=f2u8_latitude.array[i];
		 }

	 float2unit8 f2u8_longitude;
	 f2u8_longitude.fVal=gps.longitude;
		 for(uint8_t i=0;i<4;i++)
		 {
			loratx[i+13]=f2u8_longitude.array[i];
		 }

	 float2unit8 f2u8_altitude;
	 f2u8_altitude.fVal=altitude;
		 for(uint8_t i=0;i<4;i++)
		 {
			loratx[i+17]=f2u8_altitude.array[i];
		 }
	 float2unit8 f2u8_speed;
	 f2u8_speed.fVal=speed;
		 for(uint8_t i=0;i<4;i++)
		 {
			loratx[i+21]=f2u8_speed.array[i];
		 }

	 float2unit8 f2u8_temp;
	 f2u8_temp.fVal=temperature;
		 for(uint8_t i=0;i<4;i++)
		 {
			loratx[i+25]=f2u8_temp.array[i];
		 }

	 float2unit8 f2u8_accx;
	 f2u8_accx.fVal=Lsm_Sensor.Accel_X;
		 for(uint8_t i=0;i<4;i++)
		 {
			loratx[i+29]=f2u8_accx.array[i];
		 }

	 float2unit8 f2u8_accy;
	 f2u8_accy.fVal=Lsm_Sensor.Accel_Y;
	 	 for(uint8_t i=0;i<4;i++)
		 {
			loratx[i+33]=f2u8_accy.array[i];
		 }

	 float2unit8 f2u8_accz;
	 f2u8_accz.fVal=Lsm_Sensor.Accel_Z;
	 	 for(uint8_t i=0;i<4;i++)
		 {
		    loratx[i+37]=f2u8_accz.array[i];
		 }

	 float2unit8 f2u8_roll;
	 f2u8_roll.fVal=Lsm_Sensor.Roll;
		 for(uint8_t i=0;i<4;i++)
		 {
			loratx[i+41]=f2u8_roll.array[i];
		 }

	 float2unit8 f2u8_pitch;
	 f2u8_pitch.fVal=real_pitch;
		 for(uint8_t i=0;i<4;i++)
		 {
			loratx[i+45]=f2u8_pitch.array[i];
		 }

		 f2u8_altitude.fVal=altitude_max;

			loratx[69] = f2u8_altitude.array[0];
			loratx[70] = f2u8_altitude.array[1];
			loratx[71] = f2u8_altitude.array[2];
			loratx[72] = f2u8_altitude.array[3];
}

void Altitude_Offset()
{
	for(uint8_t i=0;i<5;i++)
	{
		HAL_Delay(50);
	  rslt = bme280_set_sensor_mode(BME280_FORCED_MODE, &dev);
	  rslt = bme280_get_sensor_data(BME280_ALL, &comp_data, &dev);
	  if(rslt == BME280_OK)
	  { pressure = comp_data.pressure;
	    offset_altitude=BME280_Get_Altitude();
	  }
	}
}
/* USER CODE END 4 */

void Error_Handler(void)
{
  __disable_irq();
  while (1)
  {
  }
}
